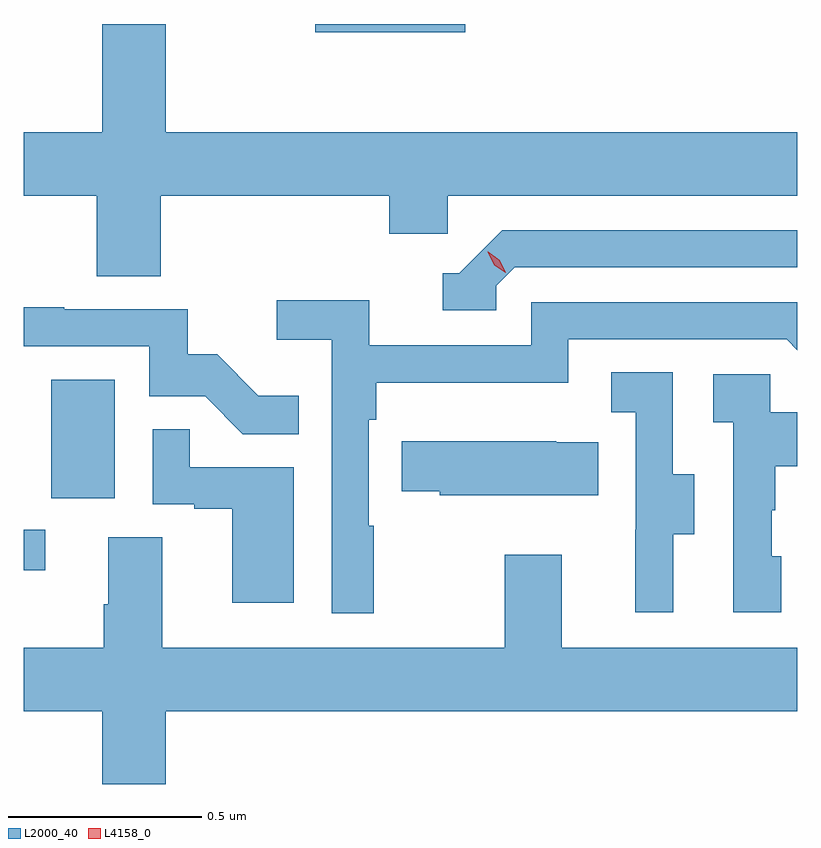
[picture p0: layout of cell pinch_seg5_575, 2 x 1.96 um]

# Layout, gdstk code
import gdstk
lib = gdstk.Library(unit=1e-6, precision=1e-09)
def R(c, l, rs):  # rectangles x0, y0, x1, y1
    for r in rs: c.add(gdstk.rectangle(r[:2], r[2:], *l))
def P(c, l, *ps):  # polygons
    for p in ps: c.add(gdstk.Polygon(p, *l))
L2000_40 = (2000, 40)
L4158_0 = (4158, 0)

pinch_seg5_575 = lib.new_cell('pinch_seg5_575')
R(pinch_seg5_575, L2000_40, [(1141.826,870.444,1141.882,870.549), (1141.898,870.63,1142.062,870.937), (1142.58,871.835,1142.968,871.856)])
P(pinch_seg5_575, L2000_40, [(1142.18,871.412),(1142.771,871.412),(1142.771,871.314),(1142.922,871.314),(1142.922,871.412),(1143.826,871.412),(1143.826,871.576),(1142.194,871.576),(1142.194,871.856),(1142.03,871.856),(1142.03,871.576),(1141.826,871.576),(1141.826,871.412),(1142.015,871.412),(1142.015,871.204),(1142.18,871.204)],
  [(1143.048,871.179),(1143.096,871.227),(1143.826,871.227),(1143.826,871.323),(1143.063,871.323),(1142.952,871.212),(1142.909,871.212),(1142.909,871.116),(1143.048,871.116)],
  [(1142.731,870.56),(1142.718,870.56),(1142.718,870.833),(1142.738,870.833),(1142.738,870.929),(1143.234,870.929),(1143.234,871.041),(1143.798,871.041),(1143.826,871.013),(1143.826,871.137),(1143.138,871.137),(1143.138,871.026),(1142.72,871.026),(1142.72,871.142),(1142.481,871.142),(1142.481,871.04),(1142.622,871.04),(1142.622,870.333),(1142.731,870.333)],
  [(1142.537,870.895),(1142.433,870.895),(1142.326,871.002),(1142.25,871.002),(1142.25,871.119),(1141.931,871.119),(1141.931,871.124),(1141.826,871.124),(1141.826,871.023),(1142.151,871.023),(1142.151,870.894),(1142.295,870.894),(1142.393,870.796),(1142.537,870.796)],
  [(1143.505,870.538),(1143.559,870.538),(1143.559,870.693),(1143.504,870.693),(1143.504,870.956),(1143.345,870.956),(1143.345,870.853),(1143.408,870.853),(1143.408,870.549),(1143.407,870.549),(1143.407,870.336),(1143.505,870.336)],
  [(1143.784,870.48),(1143.759,870.48),(1143.759,870.599),(1143.769,870.599),(1143.769,870.713),(1143.826,870.713),(1143.826,870.853),(1143.756,870.853),(1143.756,870.951),(1143.609,870.951),(1143.609,870.827),(1143.66,870.827),(1143.66,870.336),(1143.784,870.336)],
  [(1142.524,870.711),(1142.255,870.711),(1142.255,870.809),(1142.16,870.809),(1142.16,870.615),(1142.267,870.615),(1142.267,870.603),(1142.366,870.603),(1142.366,870.36),(1142.524,870.36)],
  [(1143.311,870.775),(1143.203,870.775),(1143.203,870.778),(1142.803,870.778),(1142.803,870.649),(1142.901,870.649),(1142.901,870.638),(1143.311,870.638)],
  [(1142.194,870.08),(1143.826,870.08),(1143.826,870.244),(1143.217,870.244),(1143.217,870.484),(1143.07,870.484),(1143.07,870.244),(1142.185,870.244),(1142.185,870.53),(1142.045,870.53),(1142.045,870.356),(1142.033,870.356),(1142.033,870.244),(1141.826,870.244),(1141.826,870.08),(1142.03,870.08),(1142.03,869.892),(1142.194,869.892)])
P(pinch_seg5_575, L4158_0, [(1143.072,871.213),(1143.042,871.233),(1143.026,871.267),(1143.026,871.267),(1143.027,871.267),(1143.057,871.246),(1143.072,871.213),(1143.072,871.213)])

lib.write_gds('pinch_seg5_575.gds')
